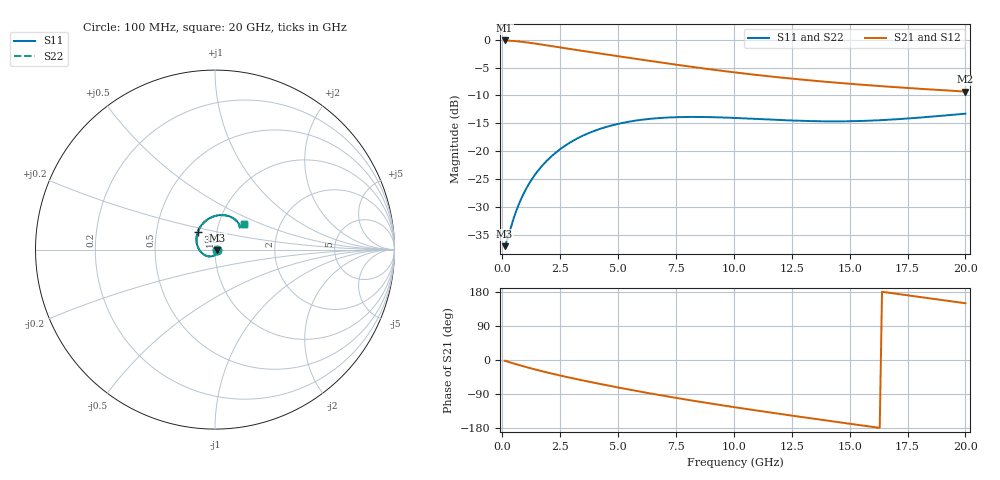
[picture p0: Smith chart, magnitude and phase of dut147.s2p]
! Touchstone file exported from HFSS 2023.1.0
!  File:  D:/Users/fzz/RDL_TSV/temp_RDL_TSV_147_1778752630.aedt
!  Generated:  6:05:09 %x4E0B%x5348  5%x6708 14, 2026
!  Design:  RDL_TSV
!  Project:  temp_RDL_TSV_147_1778752630
!  Setup:  Setup1
!  Solution:  Sweep
! Variables:
!  dtsv = 12.52um
!  hbump = 3um
!  htsv = 83.52um
!  ldown = 447.04um
!  lrdl = 393.4um
!  p = 40
!  p1 = 43.84um
!  rhole = 10um
!  subl = 2914.72um
!  t = 450um
!  tdown = 3.25um
!  trdl = 3.68um
!  viad = 10um
!  wdown = 19.31um
!  wrdl = 29.48um
!  xbump = 18um
# GHz S MA R 50.000000
! Terminal data exported
! Port[1] = TM1_1_T1
! Port[2] = TM1_4_T1
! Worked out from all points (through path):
!   200 points, 100 MHz to 20 GHz, reference 50 ohm
!   highest |S21| = -0.12 dB at 100 MHz (marker M1); lowest = -9.3 dB at 20 GHz (marker M2)
!   group delay of S21, straight-line fit = 27.6 ps
!   lowest |S11| = -37.1 dB at 100 MHz (marker M3), VSWR 1.03, Z = 51.3 - j0.465 ohm
!   |S11| at or under -10 dB: start of sweep to end of sweep
!   |S22| runs from -37.1 to -13.3 dB; largest |S21 - S12| = 8.4e-15
!   S11 on the Smith chart (normalised r, x): 100 MHz: 1.03, -0.01; 3.5 GHz: 0.81, +0.16; 20 GHz: 1.32, +0.40
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0.1  0.01399 -18.9  0.9859 -1.9  0.9859 -1.9  0.01399 -18.9
! Gamma 0 0 0 0
! Port Impedance 50 0 50 0
0.2  0.01583 -36.7  0.9839 -3.9  0.9839 -3.9  0.01583 -36.7
0.5  0.02517 -78.5  0.9746 -9.4  0.9746 -9.4  0.02518 -78.4
0.8  0.03662 -106.9  0.9613 -14.7  0.9613 -14.7  0.03663 -106.8
1.1  0.04867 -128.7  0.9446 -19.8  0.9446 -19.8  0.04866 -128.6
1.4  0.06086 -146.8  0.9258 -24.7  0.9258 -24.7  0.06082 -146.7
1.8  0.07698 -167.2  0.8992 -30.9  0.8992 -30.9  0.07689 -167.1
2.3  0.09651 171.6  0.8659 -38.2  0.8659 -38.2  0.09633 171.7
2.9  0.1184 150.8  0.8279 -46.4  0.8279 -46.4  0.1181 150.9
3.5  0.1381 133.7  0.7924 -54.2  0.7924 -54.2  0.1377 133.8
4.2  0.1578 117.2  0.7536 -62.9  0.7536 -62.9  0.1572 117.3
5  0.1756 101.7  0.7119 -72.5  0.7119 -72.5  0.1748 101.8
5.8  0.1884 88.9  0.6726 -81.7  0.6726 -81.7  0.1875 89.0
6.8  0.1982 76.0  0.6271 -92.6  0.6271 -92.6  0.1972 76.1
8.4  0.2026 60.6  0.5631 -109.0  0.5631 -109.0  0.2016 60.7
10.1  0.1983 50.0  0.5074 -125.2  0.5074 -125.2  0.1972 50.2
11.7  0.1914 44.4  0.4653 -139.7  0.4653 -139.7  0.1903 44.5
13.4  0.1858 41.9  0.4296 -154.5  0.4296 -154.5  0.1849 42.1
15  0.1854 41.7  0.4024 -168.2  0.4024 -168.2  0.1846 41.9
16.7  0.1913 42.4  0.3787 177.4  0.3787 177.4  0.1906 42.5
18.3  0.202 42.5  0.3598 164.0  0.3598 164.0  0.2014 42.6
20  0.2167 41.4  0.3425 149.8  0.3425 149.8  0.216 41.5
